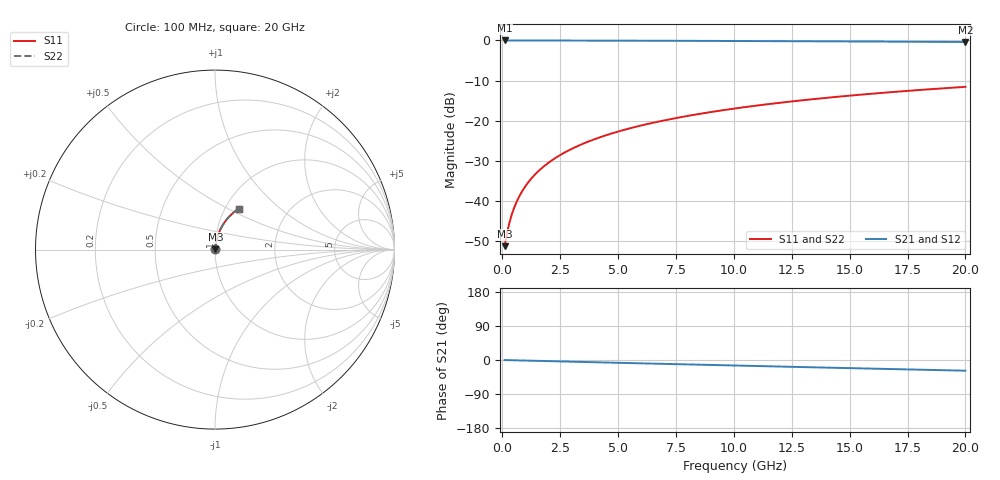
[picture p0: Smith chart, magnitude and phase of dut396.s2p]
! Touchstone file exported from HFSS 2026.1.0
!  File:  C:/ffzhzh/LocalFiles/Ansys_Project_Files/temp_train_BSMRDL_396_1783012260_53980.aedt
!  Generated:  01:12:28 AM Jul  3, 2026
!  Design:  BSMRDL
!  Project:  temp_train_BSMRDL_396_1783012260_53980
! Variables:
!  h_bsmrdl = 4.64um
!  h_ox = 20um
!  h_rdl = 5um
!  h_sub = 80um
!  h_tmrdl = 5um
!  h_tsv = 80um
!  h_via = 3um
!  l_bsmrdl = 408.49um
!  l_sub = 808.49um
!  l_tmrdl = 200um
!  m_sub = 200um
!  pitch = 35.06um
!  r_tsv = 6um
!  s_tmrdl = 10um
!  w_bsmrdl = 14.82um
!  w_sub = 500um
!  w_tmrdl = 12um
!  x_tsv_center1 = 206um
!  x_tsv_center2 = 629.31um
!  x_tsv_center3 = 841.31um
!  x_tsv_center4 = 1264.62um
!  x_tsv_center5 = 1476.62um
!  x_tsv_center6 = 1899.93um
# GHz S MA R 50.000000
! Terminal data exported
! Port[1] = BSM_RDL1_1_T1
! Port[2] = BSM_RDL1_1_T2
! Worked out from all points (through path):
!   200 points, 100 MHz to 20 GHz, reference 50 ohm
!   highest |S21| = -0.02 dB at 100 MHz (marker M1); lowest = -0.4 dB at 20 GHz (marker M2)
!   group delay of S21, straight-line fit = 3.91 ps
!   lowest |S11| = -51.2 dB at 100 MHz (marker M3), VSWR 1.01, Z = 50.2 + j0.162 ohm
!   |S11| at or under -10 dB: start of sweep to end of sweep
!   |S22| runs from -51.2 to -11.6 dB; largest |S21 - S12| = 3.2e-15
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0.1  0.002747 35.9  0.9978 -0.2  0.9978 -0.2  0.002747 35.9
! Gamma 0 0 0 0
! Port Impedance 50 0 50 0
0.2  0.003931 53.9  0.9977 -0.3  0.9977 -0.3  0.003931 53.9
0.3  0.005279 62.7  0.9976 -0.5  0.9976 -0.5  0.005279 62.7
0.4  0.006674 67.8  0.9975 -0.6  0.9975 -0.6  0.006674 67.8
0.5  0.008091 71.2  0.9975 -0.8  0.9975 -0.8  0.008091 71.2
0.6  0.009524 73.6  0.9974 -0.9  0.9974 -0.9  0.009524 73.6
0.8  0.01242 76.6  0.9973 -1.2  0.9973 -1.2  0.01242 76.6
1.1  0.01681 79.1  0.9972 -1.7  0.9972 -1.7  0.01681 79.1
1.5  0.02271 80.5  0.9969 -2.2  0.9969 -2.2  0.02271 80.5
1.8  0.02713 81.0  0.9967 -2.7  0.9967 -2.7  0.02713 81.0
2.1  0.03154 81.2  0.9964 -3.1  0.9964 -3.1  0.03154 81.2
2.7  0.04033 81.2  0.9958 -4.0  0.9958 -4.0  0.04033 81.2
3.5  0.05193 80.6  0.9949 -5.2  0.9949 -5.2  0.05193 80.6
4.2  0.06197 79.9  0.9939 -6.2  0.9939 -6.2  0.06197 79.9
5  0.07332 79.0  0.9927 -7.4  0.9927 -7.4  0.07332 79.0
5.9  0.08592 77.9  0.9911 -8.7  0.9911 -8.7  0.08592 77.9
6.8  0.09837 76.7  0.9895 -10.0  0.9895 -10.0  0.09837 76.7
8.3  0.1188 74.8  0.9866 -12.1  0.9866 -12.1  0.1188 74.8
10.1  0.1428 72.5  0.9827 -14.7  0.9827 -14.7  0.1428 72.5
13.4  0.1853 68.2  0.9745 -19.3  0.9745 -19.3  0.1853 68.2
16.7  0.2258 63.9  0.9652 -23.8  0.9652 -23.8  0.2258 63.9
20  0.2641 59.7  0.9549 -28.2  0.9549 -28.2  0.2641 59.7
